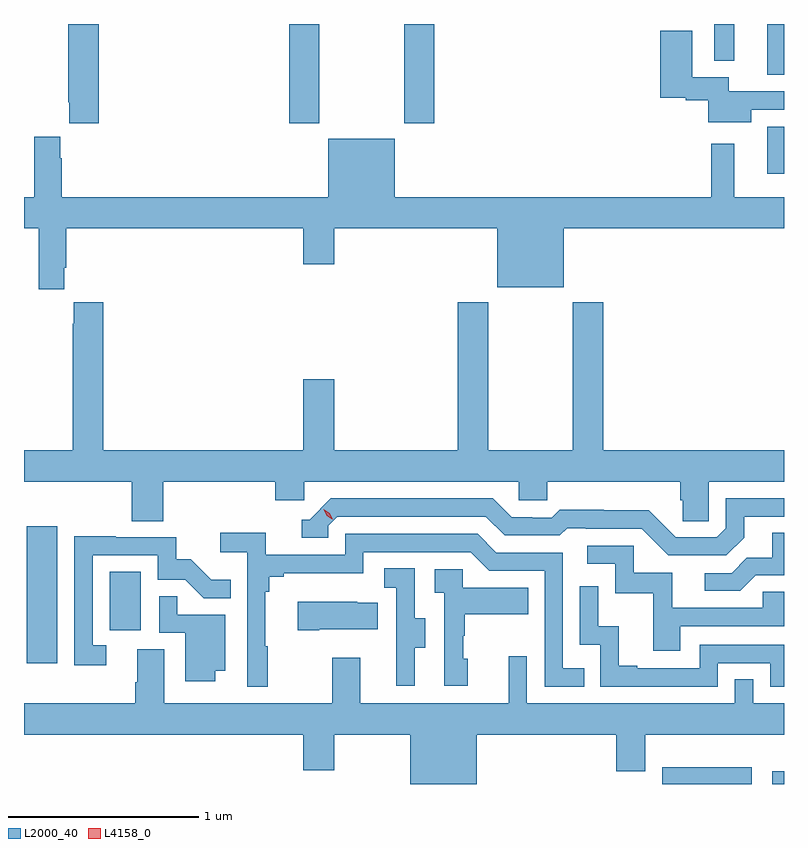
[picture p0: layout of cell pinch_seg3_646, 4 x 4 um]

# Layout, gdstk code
import gdstk
lib = gdstk.Library(unit=1e-6, precision=1e-09)
def R(c, l, rs):  # rectangles x0, y0, x1, y1
    for r in rs: c.add(gdstk.rectangle(r[:2], r[2:], *l))
def P(c, l, *ps):  # polygons
    for p in ps: c.add(gdstk.Polygon(p, *l))
L2000_40 = (2000, 40)
L4158_0 = (4158, 0)

pinch_seg3_646 = lib.new_cell('pinch_seg3_646')
R(pinch_seg3_646, L2000_40, [(1030.034,667.356,1030.504,667.444), (1030.613,667.356,1030.674,667.423), (1026.689,667.992,1026.85,668.713), (1027.124,668.166,1027.288,668.473), (1030.586,670.569,1030.674,670.815), (1028.069,670.833,1028.228,671.356), (1028.674,670.833,1028.834,671.356), (1030.586,671.09,1030.674,671.356), (1030.307,671.163,1030.411,671.356)])
P(pinch_seg3_646, L2000_40, [(1027.067,671.356),(1026.907,671.356),(1026.907,670.945),(1026.911,670.945),(1026.911,670.833),(1027.067,670.833)],
  [(1030.501,670.905),(1030.674,670.905),(1030.674,671.001),(1030.384,671.001),(1030.384,671.077),(1030.192,671.077),(1030.192,671.32),(1030.022,671.32),(1030.022,670.967),(1030.158,670.967),(1030.158,670.955),(1030.274,670.955),(1030.274,670.838),(1030.501,670.838)],
  [(1026.872,670.649),(1026.865,670.649),(1026.865,670.762),(1026.728,670.762),(1026.728,670.444),(1026.674,670.444),(1026.674,670.28),(1026.752,670.28),(1026.752,669.96),(1026.886,669.96),(1026.886,670.072),(1026.896,670.072),(1026.896,670.28),(1028.144,670.28),(1028.144,670.092),(1028.308,670.092),(1028.308,670.28),(1029.164,670.28),(1029.164,669.971),(1029.514,669.971),(1029.514,670.28),(1030.674,670.28),(1030.674,670.444),(1030.411,670.444),(1030.411,670.726),(1030.29,670.726),(1030.29,670.444),(1028.626,670.444),(1028.626,670.753),(1028.276,670.753),(1028.276,670.444),(1026.872,670.444)],
  [(1027.406,668.948),(1027.997,668.948),(1027.997,668.85),(1028.148,668.85),(1028.148,668.948),(1029.279,668.948),(1029.279,668.85),(1029.429,668.85),(1029.429,668.948),(1030.127,668.948),(1030.127,668.85),(1030.141,668.85),(1030.141,668.74),(1030.278,668.74),(1030.278,668.948),(1030.674,668.948),(1030.674,669.112),(1029.722,669.112),(1029.722,669.892),(1029.562,669.892),(1029.562,669.112),(1029.117,669.112),(1029.117,669.892),(1028.957,669.892),(1028.957,669.112),(1028.308,669.112),(1028.308,669.487),(1028.144,669.487),(1028.144,669.112),(1027.091,669.112),(1027.091,669.892),(1026.937,669.892),(1026.937,669.779),(1026.93,669.779),(1026.93,669.112),(1026.674,669.112),(1026.674,668.948),(1027.241,668.948),(1027.241,668.74),(1027.406,668.74)],
  [(1030.465,668.653),(1030.465,668.763),(1030.674,668.763),(1030.674,668.859),(1030.368,668.859),(1030.368,668.703),(1030.32,668.655),(1030.104,668.655),(1029.962,668.797),(1029.726,668.797),(1029.726,668.8),(1029.493,668.8),(1029.451,668.757),(1029.348,668.757),(1029.348,668.76),(1029.241,668.76),(1029.142,668.859),(1028.289,668.859),(1028.178,668.748),(1028.135,668.748),(1028.135,668.652),(1028.274,668.652),(1028.274,668.715),(1028.322,668.763),(1029.105,668.763),(1029.204,668.664),(1029.493,668.664),(1029.532,668.703),(1029.631,668.703),(1029.631,668.7),(1029.924,668.7),(1030.065,668.559),(1030.371,668.559)],
  [(1030.525,668.454),(1030.674,668.454),(1030.674,668.678),(1030.613,668.678),(1030.613,668.546),(1030.478,668.546),(1030.398,668.466),(1030.257,668.466),(1030.257,668.373),(1030.444,668.373)],
  [(1027.957,668.081),(1027.945,668.081),(1027.945,668.369),(1027.964,668.369),(1027.964,668.446),(1028.041,668.446),(1028.041,668.465),(1028.46,668.465),(1028.46,668.577),(1029.024,668.577),(1029.123,668.478),(1029.414,668.478),(1029.414,667.869),(1029.623,667.869),(1029.623,667.965),(1029.51,667.965),(1029.51,668.574),(1029.16,668.574),(1029.061,668.673),(1028.364,668.673),(1028.364,668.562),(1027.946,668.562),(1027.946,668.678),(1027.707,668.678),(1027.707,668.576),(1027.848,668.576),(1027.848,667.869),(1027.957,667.869)],
  [(1027.108,668.085),(1027.035,668.085),(1027.035,668.559),(1027.377,668.559),(1027.377,668.43),(1027.522,668.43),(1027.619,668.333),(1027.763,668.333),(1027.763,668.431),(1027.659,668.431),(1027.552,668.538),(1027.476,668.538),(1027.476,668.655),(1027.157,668.655),(1027.157,668.66),(1026.939,668.66),(1026.939,667.98),(1027.108,667.98)],
  [(1030.129,668.187),(1030.674,668.187),(1030.674,668.367),(1030.561,668.367),(1030.561,668.283),(1030.087,668.283),(1030.087,668.469),(1029.882,668.469),(1029.882,668.61),(1029.639,668.61),(1029.639,668.514),(1029.786,668.514),(1029.786,668.361),(1029.985,668.361),(1029.985,668.058),(1030.129,668.058)],
  [(1028.731,668.074),(1028.785,668.074),(1028.785,668.229),(1028.73,668.229),(1028.73,668.492),(1028.571,668.492),(1028.571,668.389),(1028.634,668.389),(1028.634,668.085),(1028.632,668.085),(1028.632,667.872),(1028.731,667.872)],
  [(1029.01,668.016),(1028.985,668.016),(1028.985,668.135),(1028.995,668.135),(1028.995,668.249),(1029.329,668.249),(1029.329,668.389),(1028.982,668.389),(1028.982,668.487),(1028.835,668.487),(1028.835,668.363),(1028.886,668.363),(1028.886,667.872),(1029.01,667.872)],
  [(1030.326,667.992),(1030.602,667.992),(1030.602,667.869),(1030.674,667.869),(1030.674,668.088),(1030.23,668.088),(1030.23,667.965),(1029.901,667.965),(1029.901,667.978),(1029.805,667.978),(1029.805,668.186),(1029.696,668.186),(1029.696,668.398),(1029.6,668.398),(1029.6,668.088),(1029.708,668.088),(1029.708,667.869),(1030.326,667.869)],
  [(1027.681,667.952),(1027.732,667.952),(1027.732,668.247),(1027.481,668.247),(1027.481,668.345),(1027.386,668.345),(1027.386,668.151),(1027.523,668.151),(1027.523,667.896),(1027.681,667.896)],
  [(1028.227,668.171),(1028.537,668.171),(1028.537,668.311),(1028.429,668.311),(1028.429,668.314),(1028.115,668.314),(1028.115,668.164),(1028.227,668.164)],
  [(1029.058,667.616),(1029.791,667.616),(1029.791,667.422),(1029.943,667.422),(1029.943,667.616),(1030.674,667.616),(1030.674,667.78),(1030.512,667.78),(1030.512,667.907),(1030.416,667.907),(1030.416,667.78),(1029.321,667.78),(1029.321,668.029),(1029.224,668.029),(1029.224,667.78),(1028.443,667.78),(1028.443,668.02),(1028.296,668.02),(1028.296,667.78),(1027.411,667.78),(1027.411,668.066),(1027.271,668.066),(1027.271,667.892),(1027.259,667.892),(1027.259,667.78),(1026.674,667.78),(1026.674,667.616),(1028.144,667.616),(1028.144,667.428),(1028.308,667.428),(1028.308,667.616),(1028.708,667.616),(1028.708,667.356),(1029.058,667.356)])
P(pinch_seg3_646, L4158_0, [(1028.297,668.749),(1028.267,668.769),(1028.251,668.801),(1028.251,668.801),(1028.251,668.801),(1028.282,668.782),(1028.298,668.749),(1028.298,668.749)])

lib.write_gds('pinch_seg3_646.gds')
